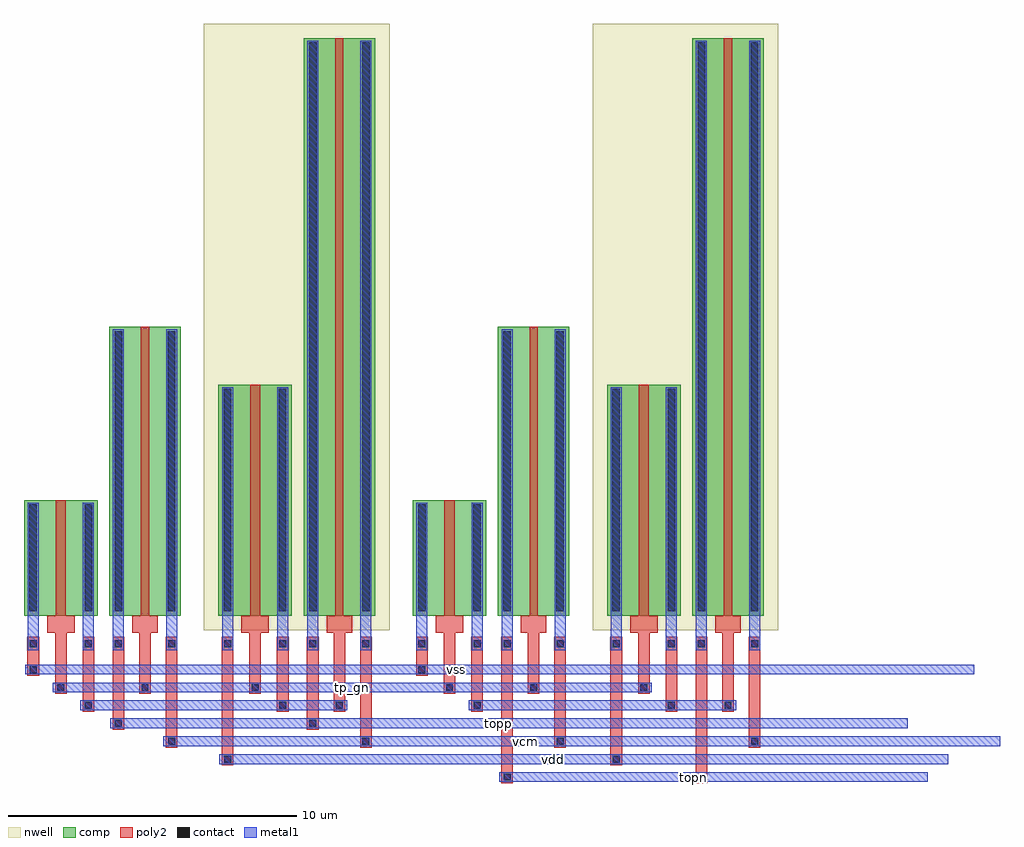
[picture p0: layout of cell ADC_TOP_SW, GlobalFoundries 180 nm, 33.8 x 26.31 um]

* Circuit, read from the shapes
.subckt ADC_TOP_SW topn topp tp_gn vcm vdd vss
XM1 n1 tp_gn vss VSUBS nfet_03v3 w=4u l=0.35u
XM2 vcm tp_gn topp VSUBS nfet_03v3 w=10u l=0.28u
XM3 n2 tp_gn vss VSUBS nfet_03v3 w=4u l=0.35u
XM4 vcm tp_gn topn VSUBS nfet_03v3 w=10u l=0.28u
XM5 n1 tp_gn vdd n3 pfet_03v3 w=8u l=0.35u
XM6 vcm n1 topp n3 pfet_03v3 w=20u l=0.28u
XM7 n2 tp_gn vdd n4 pfet_03v3 w=8u l=0.35u
XM8 vcm n2 topn n4 pfet_03v3 w=20u l=0.28u
.ends

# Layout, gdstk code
import gdstk
lib = gdstk.Library(unit=1e-6, precision=1e-09)
def R(c, l, rs):  # rectangles x0, y0, x1, y1
    for r in rs: c.add(gdstk.rectangle(r[:2], r[2:], *l))
def A(c, l, x, y, w, h, nx, ny, dx, dy):  # array of equal rectangles
    R(c, l, [(x+i*dx, y+j*dy, x+i*dx+w, y+j*dy+h) for i in range(nx) for j in range(ny)])
nwell = (21, 0)
comp = (22, 0)
poly2 = (30, 0)
contact = (33, 0)
metal1 = (34, 0)

adc_top_sw = lib.new_cell('ADC_TOP_SW')
R(adc_top_sw, nwell, [(6.23,-0.5,12.66,20.5), (19.69,-0.5,26.12,20.5)])
R(adc_top_sw, comp, [(0,0,2.55,4), (2.95,0,5.43,10), (6.73,0,9.28,8), (9.68,0,12.16,20), (13.46,0,16.01,4), (16.41,0,18.89,10), (20.19,0,22.74,8), (23.14,0,25.62,20)])
A(adc_top_sw, poly2, 4.91, -4.57, 0.4, 3.37, 4, 1, 6.73, 0)
A(adc_top_sw, poly2, 0.8, -0.6, 0.95, 0.6, 4, 1, 6.73, 0)
A(adc_top_sw, poly2, 3.75, -0.6, 0.88, 0.6, 4, 1, 6.73, 0)
R(adc_top_sw, poly2, [(16.53,-5.81,16.93,-1.2), (23.26,-5.81,23.66,-1.2), (6.85,-5.19,7.25,-1.2), (20.31,-5.19,20.71,-1.2), (3.07,-3.95,3.47,-1.2), (9.8,-3.95,10.2,-1.2), (2.03,-3.33,2.43,-1.2), (8.76,-3.33,9.16,-1.2), (10.72,-3.33,11.12,-1.2), (15.49,-3.33,15.89,-1.2), (22.22,-3.33,22.62,-1.2), (24.18,-3.33,24.58,-1.2), (1.075,-2.71,1.475,-1.2), (3.99,-2.71,4.39,-1.2), (7.805,-2.71,8.205,-1.2), (14.535,-2.71,14.935,-1.2), (17.45,-2.71,17.85,-1.2), (21.265,-2.71,21.665,-1.2), (0.12,-2.09,0.52,-1.2), (13.58,-2.09,13.98,-1.2), (0.12,-1.2,0.52,-0.74), (1.075,-1.2,1.475,-0.6), (2.03,-1.2,2.43,-0.74), (3.07,-1.2,3.47,-0.74), (3.99,-1.2,4.39,-0.6), (4.91,-1.2,5.31,-0.74), (6.85,-1.2,7.25,-0.74), (7.805,-1.2,8.205,-0.6), (8.76,-1.2,9.16,-0.74), (9.8,-1.2,10.2,-0.74), (10.72,-1.2,11.12,-0.6), (11.64,-1.2,12.04,-0.74), (13.58,-1.2,13.98,-0.74), (14.535,-1.2,14.935,-0.6), (15.49,-1.2,15.89,-0.74), (16.53,-1.2,16.93,-0.74), (17.45,-1.2,17.85,-0.6), (18.37,-1.2,18.77,-0.74), (20.31,-1.2,20.71,-0.74), (21.265,-1.2,21.665,-0.6), (22.22,-1.2,22.62,-0.74), (23.26,-1.2,23.66,-0.74), (24.18,-1.2,24.58,-0.6), (25.1,-1.2,25.5,-0.74), (1.1,0,1.45,4), (4.05,0,4.33,10), (7.83,0,8.18,8), (10.78,0,11.06,20), (14.56,0,14.91,4), (17.51,0,17.79,10), (21.29,0,21.64,8), (24.24,0,24.52,20)])
A(adc_top_sw, contact, 4.99, -4.47, 0.24, 0.24, 4, 1, 6.73, 0)
R(adc_top_sw, contact, [(16.61,-5.71,16.85,-5.47), (23.34,-5.71,23.58,-5.47), (6.93,-5.09,7.17,-4.85), (20.39,-5.09,20.63,-4.85), (3.15,-3.85,3.39,-3.61), (9.88,-3.85,10.12,-3.61), (2.11,-3.23,2.35,-2.99), (8.84,-3.23,9.08,-2.99), (10.8,-3.23,11.04,-2.99), (15.57,-3.23,15.81,-2.99), (22.3,-3.23,22.54,-2.99), (24.26,-3.23,24.5,-2.99), (1.155,-2.61,1.395,-2.37), (4.07,-2.61,4.31,-2.37), (7.885,-2.61,8.125,-2.37), (14.615,-2.61,14.855,-2.37), (17.53,-2.61,17.77,-2.37), (21.345,-2.61,21.585,-2.37), (0.2,-1.99,0.44,-1.75), (13.66,-1.99,13.9,-1.75), (0.2,-1.1,0.44,-0.86), (2.11,-1.1,2.35,-0.86), (3.15,-1.1,3.39,-0.86), (4.99,-1.1,5.23,-0.86), (6.93,-1.1,7.17,-0.86), (8.84,-1.1,9.08,-0.86), (9.88,-1.1,10.12,-0.86), (11.72,-1.1,11.96,-0.86), (13.66,-1.1,13.9,-0.86), (15.57,-1.1,15.81,-0.86), (16.61,-1.1,16.85,-0.86), (18.45,-1.1,18.69,-0.86), (20.39,-1.1,20.63,-0.86), (22.3,-1.1,22.54,-0.86), (23.34,-1.1,23.58,-0.86), (25.18,-1.1,25.42,-0.86), (0.19,0.15,0.45,3.85), (2.1,0.15,2.36,3.85), (3.14,0.15,3.4,9.85), (4.98,0.15,5.24,9.85), (6.92,0.15,7.18,7.85), (8.83,0.15,9.09,7.85), (9.87,0.15,10.13,19.85), (11.71,0.15,11.97,19.85), (13.65,0.15,13.91,3.85), (15.56,0.15,15.82,3.85), (16.6,0.15,16.86,9.85), (18.44,0.15,18.7,9.85), (20.38,0.15,20.64,7.85), (22.29,0.15,22.55,7.85), (23.33,0.15,23.59,19.85), (25.17,0.15,25.43,19.85)])
R(adc_top_sw, metal1, [(16.45,-5.76,29.9,-5.42), (16.45,-5.76,31.3,-5.42), (6.77,-5.14,29.9,-4.8), (6.77,-5.14,32,-4.8), (4.83,-4.52,29.9,-4.18), (4.83,-4.52,33.8,-4.18), (2.99,-3.9,29.9,-3.56), (2.99,-3.9,30.6,-3.56), (1.95,-3.28,11.2,-2.94), (15.41,-3.28,24.66,-2.94), (0.995,-2.66,21.745,-2.32), (0.04,-2.04,29.9,-1.7), (0.04,-2.04,32.9,-1.7), (0.13,-1.2,0.51,0.09), (2.04,-1.2,2.42,0.09), (3.08,-1.2,3.46,0.09), (4.92,-1.2,5.3,0.09), (6.86,-1.2,7.24,0.09), (8.77,-1.2,9.15,0.09), (9.81,-1.2,10.19,0.09), (11.65,-1.2,12.03,0.09), (13.59,-1.2,13.97,0.09), (15.5,-1.2,15.88,0.09), (16.54,-1.2,16.92,0.09), (18.38,-1.2,18.76,0.09), (20.32,-1.2,20.7,0.09), (22.23,-1.2,22.61,0.09), (23.27,-1.2,23.65,0.09), (25.11,-1.2,25.49,0.09), (0.13,0.09,0.51,3.91), (2.04,0.09,2.42,3.91), (3.08,0.09,3.46,9.91), (4.92,0.09,5.3,9.91), (6.86,0.09,7.24,7.91), (8.77,0.09,9.15,7.91), (9.81,0.09,10.19,19.91), (11.65,0.09,12.03,19.91), (13.59,0.09,13.97,3.91), (15.5,0.09,15.88,3.91), (16.54,0.09,16.92,9.91), (18.38,0.09,18.76,9.91), (20.32,0.09,20.7,7.91), (22.23,0.09,22.61,7.91), (23.27,0.09,23.65,19.91), (25.11,0.09,25.49,19.91)])
adc_top_sw.add(gdstk.Label('vss', (14.97,-1.87), layer=34, texttype=10))
adc_top_sw.add(gdstk.Label('tp_gn', (11.37,-2.49), layer=34, texttype=10))
adc_top_sw.add(gdstk.Label('topp', (16.445,-3.73), layer=34, texttype=10))
adc_top_sw.add(gdstk.Label('vcm', (17.365,-4.35), layer=34, texttype=10))
adc_top_sw.add(gdstk.Label('vdd', (18.335,-4.97), layer=34, texttype=10))
adc_top_sw.add(gdstk.Label('topn', (23.175,-5.59), layer=34, texttype=10))

lib.write_gds('ADC_TOP_SW.gds')
